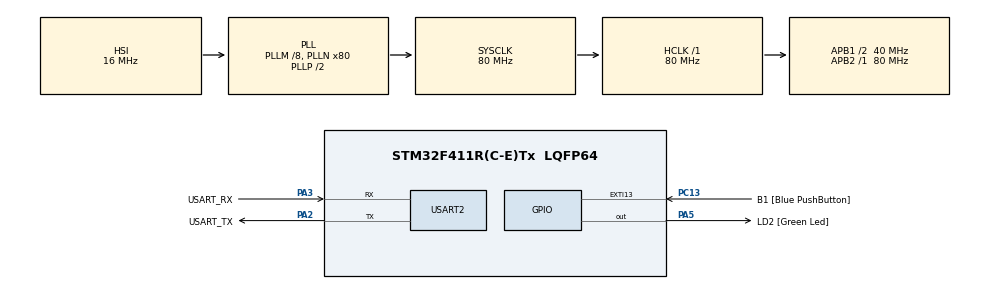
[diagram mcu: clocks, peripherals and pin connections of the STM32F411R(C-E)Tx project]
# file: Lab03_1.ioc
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Mcu.Family=STM32F4
Mcu.Name=STM32F411R(C-E)Tx
Mcu.Package=LQFP64
NVIC.EXTI15_10_IRQn=true\:0\:0\:false\:false\:true\:true\:true\:true
NVIC.PriorityGroup=NVIC_PRIORITYGROUP_0
PA13.GPIO_Label=TMS
PA13.Mode=Serial_Wire
PA13.Signal=SYS_JTMS-SWDIO
PA14.GPIO_Label=TCK
PA14.Mode=Serial_Wire
PA14.Signal=SYS_JTCK-SWCLK
PA2.GPIO_Label=USART_TX
PA2.Mode=Asynchronous
PA2.Signal=USART2_TX
PA3.GPIO_Label=USART_RX
PA3.Mode=Asynchronous
PA3.Signal=USART2_RX
PA5.GPIO_Label=LD2 [Green Led]
PA5.Signal=GPIO_Output
PB3.GPIO_Label=SWO
PB3.Signal=SYS_JTDO-SWO
PC13-ANTI_TAMP.GPIO_Label=B1 [Blue PushButton]
PC13-ANTI_TAMP.GPIO_ModeDefaultEXTI=GPIO_MODE_IT_FALLING
PC13-ANTI_TAMP.GPIO_PuPd=GPIO_PULLUP
PC13-ANTI_TAMP.Signal=GPXTI13
PC14-OSC32_IN.Mode=LSE-External-Oscillator
PC14-OSC32_IN.Signal=RCC_OSC32_IN
PC15-OSC32_OUT.Mode=LSE-External-Oscillator
PC15-OSC32_OUT.Signal=RCC_OSC32_OUT
PH0\ -\ OSC_IN.Mode=HSE-External-Clock-Source
PH0\ -\ OSC_IN.Signal=RCC_OSC_IN
PH1\ -\ OSC_OUT.Mode=HSE-External-Clock-Source
PH1\ -\ OSC_OUT.Signal=RCC_OSC_OUT
ProjectManager.HeapSize=0x200
ProjectManager.StackSize=0x400
ProjectManager.TargetToolchain=STM32CubeIDE
RCC.48MHZClocksFreq_Value=40000000
RCC.AHBFreq_Value=80000000
RCC.APB1CLKDivider=RCC_HCLK_DIV2
RCC.APB1Freq_Value=40000000
RCC.APB1TimFreq_Value=80000000
RCC.APB2Freq_Value=80000000
RCC.APB2TimFreq_Value=80000000
RCC.CortexFreq_Value=80000000
RCC.FLatency-AdvancedSettings=FLASH_LATENCY_2
RCC.HCLKFreq_Value=80000000
RCC.HSE_VALUE=8000000
RCC.HSI_VALUE=16000000
RCC.PLLM=8
RCC.PLLN=80
RCC.SYSCLKFreq_VALUE=80000000
RCC.SYSCLKSource=RCC_SYSCLKSOURCE_PLLCLK
RCC.VCOOutputFreq_Value=160000000
TIM10.Period=65536-1
TIM10.Prescaler=8000-1
USART2.VirtualMode=VM_ASYNC
VP_TIM10_VS_ClockSourceINT.Mode=Enable_Timer
board=NUCLEO-F411RE

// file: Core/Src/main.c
/* USER CODE BEGIN Header */
/**
  ******************************************************************************
  * @file           : main.c
  * @brief          : Main program body
  ******************************************************************************
  * @attention
  *
  * Copyright (c) 2023 STMicroelectronics.
  * All rights reserved.
  *
  * This software is licensed under terms that can be found in the LICENSE file
  * in the root directory of this software component.
  * If no LICENSE file comes with this software, it is provided AS-IS.
  *
  ******************************************************************************
  */
/* USER CODE END Header */
#include "main.h"

TIM_HandleTypeDef htim10;

UART_HandleTypeDef huart2;

void SystemClock_Config(void);
static void MX_GPIO_Init(void);
static void MX_USART2_UART_Init(void);
static void MX_TIM10_Init(void);

/* USER CODE BEGIN 0 */
int state = 0;
/* USER CODE END 0 */

int main(void)
{
  /* USER CODE BEGIN 1 */
	uint16_t timer_val;
	int delayTime = 2000;
  /* USER CODE END 1 */

  /* MCU Configuration--------------------------------------------------------*/

  /* Reset of all peripherals, Initializes the Flash interface and the Systick. */
  HAL_Init();

  /* Configure the system clock */
  SystemClock_Config();

  /* Initialize all configured peripherals */
  MX_GPIO_Init();
  MX_USART2_UART_Init();
  MX_TIM10_Init();
  /* USER CODE BEGIN 2 */
  // Start timer
  HAL_TIM_Base_Start(&htim10);

  // Get current time (microseconds)
  timer_val = __HAL_TIM_GET_COUNTER(&htim10);
  /* USER CODE END 2 */

  /* Infinite loop */
  while (1)
  {

    /* USER CODE BEGIN 3 */
	  switch(state % 3) {
		  case 0:
			  delayTime = 2000;
			  break;
		  case 1:
			  delayTime = 10000;
			  break;
		  case 2:
			  delayTime = 50000;
			  break;
	  }

	  if (__HAL_TIM_GET_COUNTER(&htim10) - timer_val >= delayTime) {
	      HAL_GPIO_TogglePin(GPIOA, GPIO_PIN_5);
	      timer_val = __HAL_TIM_GET_COUNTER(&htim10);
	  }
  }
  /* USER CODE END 3 */
}

void SystemClock_Config(void)
{
  RCC_OscInitTypeDef RCC_OscInitStruct = {0};
  RCC_ClkInitTypeDef RCC_ClkInitStruct = {0};

  /** Configure the main internal regulator output voltage
  */
  __HAL_RCC_PWR_CLK_ENABLE();
  __HAL_PWR_VOLTAGESCALING_CONFIG(PWR_REGULATOR_VOLTAGE_SCALE1);

  /** Initializes the RCC Oscillators according to the specified parameters
  * in the RCC_OscInitTypeDef structure.
  */
  RCC_OscInitStruct.OscillatorType = RCC_OSCILLATORTYPE_HSI;
  RCC_OscInitStruct.HSIState = RCC_HSI_ON;
  RCC_OscInitStruct.HSICalibrationValue = RCC_HSICALIBRATION_DEFAULT;
  RCC_OscInitStruct.PLL.PLLState = RCC_PLL_ON;
  RCC_OscInitStruct.PLL.PLLSource = RCC_PLLSOURCE_HSI;
  RCC_OscInitStruct.PLL.PLLM = 8;
  RCC_OscInitStruct.PLL.PLLN = 80;
  RCC_OscInitStruct.PLL.PLLP = RCC_PLLP_DIV2;
  RCC_OscInitStruct.PLL.PLLQ = 4;
  if (HAL_RCC_OscConfig(&RCC_OscInitStruct) != HAL_OK)
  {
    Error_Handler();
  }

  /** Initializes the CPU, AHB and APB buses clocks
  */
  RCC_ClkInitStruct.ClockType = RCC_CLOCKTYPE_HCLK|RCC_CLOCKTYPE_SYSCLK
                              |RCC_CLOCKTYPE_PCLK1|RCC_CLOCKTYPE_PCLK2;
  RCC_ClkInitStruct.SYSCLKSource = RCC_SYSCLKSOURCE_PLLCLK;
  RCC_ClkInitStruct.AHBCLKDivider = RCC_SYSCLK_DIV1;
  RCC_ClkInitStruct.APB1CLKDivider = RCC_HCLK_DIV2;
  RCC_ClkInitStruct.APB2CLKDivider = RCC_HCLK_DIV1;

  if (HAL_RCC_ClockConfig(&RCC_ClkInitStruct, FLASH_LATENCY_2) != HAL_OK)
  {
    Error_Handler();
  }
}

static void MX_TIM10_Init(void)
{

  htim10.Instance = TIM10;
  htim10.Init.Prescaler = 8000-1;
  htim10.Init.CounterMode = TIM_COUNTERMODE_UP;
  htim10.Init.Period = 65536-1;
  htim10.Init.ClockDivision = TIM_CLOCKDIVISION_DIV1;
  htim10.Init.AutoReloadPreload = TIM_AUTORELOAD_PRELOAD_DISABLE;
  if (HAL_TIM_Base_Init(&htim10) != HAL_OK)
  {
    Error_Handler();
  }

}

static void MX_USART2_UART_Init(void)
{

  huart2.Instance = USART2;
  huart2.Init.BaudRate = 115200;
  huart2.Init.WordLength = UART_WORDLENGTH_8B;
  huart2.Init.StopBits = UART_STOPBITS_1;
  huart2.Init.Parity = UART_PARITY_NONE;
  huart2.Init.Mode = UART_MODE_TX_RX;
  huart2.Init.HwFlowCtl = UART_HWCONTROL_NONE;
  huart2.Init.OverSampling = UART_OVERSAMPLING_16;
  if (HAL_UART_Init(&huart2) != HAL_OK)
  {
    Error_Handler();
  }

}

static void MX_GPIO_Init(void)
{
  GPIO_InitTypeDef GPIO_InitStruct = {0};

  /* GPIO Ports Clock Enable */
  __HAL_RCC_GPIOC_CLK_ENABLE();
  __HAL_RCC_GPIOH_CLK_ENABLE();
  __HAL_RCC_GPIOA_CLK_ENABLE();
  __HAL_RCC_GPIOB_CLK_ENABLE();

  /*Configure GPIO pin Output Level */
  HAL_GPIO_WritePin(LD2_GPIO_Port, LD2_Pin, GPIO_PIN_RESET);

  /*Configure GPIO pin : B1_Pin */
  GPIO_InitStruct.Pin = B1_Pin;
  GPIO_InitStruct.Mode = GPIO_MODE_IT_FALLING;
  GPIO_InitStruct.Pull = GPIO_PULLUP;
  HAL_GPIO_Init(B1_GPIO_Port, &GPIO_InitStruct);

  /*Configure GPIO pin : LD2_Pin */
  GPIO_InitStruct.Pin = LD2_Pin;
  GPIO_InitStruct.Mode = GPIO_MODE_OUTPUT_PP;
  GPIO_InitStruct.Pull = GPIO_NOPULL;
  GPIO_InitStruct.Speed = GPIO_SPEED_FREQ_LOW;
  HAL_GPIO_Init(LD2_GPIO_Port, &GPIO_InitStruct);

  /* EXTI interrupt init*/
  HAL_NVIC_SetPriority(EXTI15_10_IRQn, 0, 0);
  HAL_NVIC_EnableIRQ(EXTI15_10_IRQn);

}

/* USER CODE BEGIN 4 */
void HAL_GPIO_EXTI_Callback(uint16_t GPIO_Pin)
{
	if(GPIO_Pin == GPIO_PIN_13) {
		state++;
	} else {
		__NOP();
	}
}
/* USER CODE END 4 */

void Error_Handler(void)
{
  __disable_irq();
  while (1)
  {
  }
}
